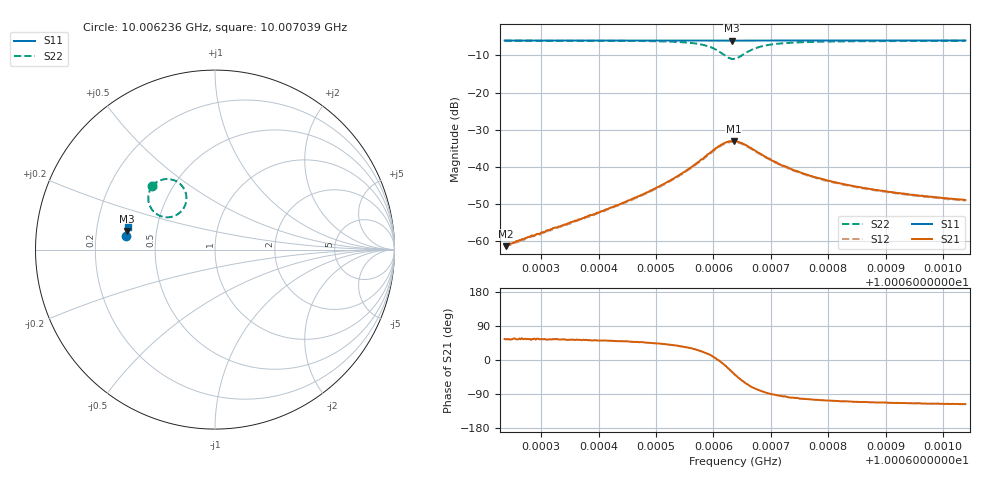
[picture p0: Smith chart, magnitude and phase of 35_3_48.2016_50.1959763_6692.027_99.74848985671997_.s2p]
#  HZ  S  RI  R  50.00
! Rohde & Schwarz Vector Network Analyzer
! Rohde-Schwarz,ZNB20-2Port,1311601062101988,3.16
! Created: UTC 3/20/2024, 11:37:38 AM
! freq[Hz]  re:S11  im:S11  re:S21  im:S21  re:S12  im:S12  re:S22  im:S22
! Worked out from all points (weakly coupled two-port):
!   401 points, 10.006236 GHz to 10.007039 GHz, reference 50 ohm
!   highest |S21| = -33.03 dB at 10.006636 GHz (marker M1); lowest = -61.3 dB at 10.006238 GHz (marker M2)
!   lowest |S11| = -6.0 dB at 10.006632 GHz (marker M3), VSWR 3.00, Z = 16.8 + j4.58 ohm
!   |S11| at or under -10 dB: nowhere
!   |S22| runs from -10.9 to -6.0 dB; largest |S21 - S12| = 0.0016
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1.00062363e10  -0.496 0.0775  0.000504 0.000729  0.000451 0.000745  -0.3522 0.3545
1.00062383e10  -0.496 0.0776  0.000499 0.000699  0.000445 0.000747  -0.352 0.3546
1.00063707e10  -0.4948 0.0864  0.00124 0.00159  0.00114 0.0016  -0.3373 0.3676
1.00064349e10  -0.4941 0.0906  0.00201 0.00235  0.00186 0.00239  -0.3253 0.3761
1.00065052e10  -0.4931 0.0951  0.00395 0.00376  0.00372 0.00385  -0.3004 0.3878
1.00065493e10  -0.4925 0.0984  0.00706 0.00484  0.00668 0.00509  -0.2666 0.3932
1.00065874e10  -0.4914 0.1009  0.0134 0.00437  0.0128 0.00482  -0.2066 0.3754
1.00066015e10  -0.4909 0.1018  0.017 0.00206  0.0164 0.00277  -0.1776 0.3468
1.00066135e10  -0.4905 0.102  0.0198 -0.00208  0.0193 -0.000882  -0.1603 0.303
1.00066236e10  -0.49 0.1022  0.0205 -0.00703  0.0204 -0.00566  -0.1635 0.2554
1.00066316e10  -0.4898 0.1022  0.0192 -0.0113  0.0194 -0.00975  -0.1831 0.2188
1.00066356e10  -0.49 0.1022  0.0181 -0.0131  0.0184 -0.0117  -0.1983 0.204
1.00066376e10  -0.49 0.1023  0.0173 -0.0141  0.0175 -0.0125  -0.2065 0.1978
1.00066537e10  -0.4905 0.1029  0.0105 -0.0172  0.0113 -0.0163  -0.2787 0.1806
1.00066677e10  -0.4907 0.1036  0.00537 -0.0166  0.00631 -0.016  -0.3249 0.1979
1.00066838e10  -0.4909 0.1049  0.00197 -0.0146  0.00276 -0.0141  -0.3531 0.2258
1.00067159e10  -0.4909 0.1072  -0.000795 -0.0108  -0.000363 -0.0107  -0.3707 0.2695
1.00067419e10  -0.4908 0.1089  -0.00161 -0.0088  -0.00109 -0.00871  -0.372 0.2917
1.0006772e10  -0.4906 0.1112  -0.00185 -0.00726  -0.0015 -0.00722  -0.3697 0.3087
1.00068322e10  -0.4898 0.115  -0.00189 -0.00545  -0.00163 -0.00543  -0.3634 0.329
1.00069065e10  -0.4888 0.1199  -0.00179 -0.00424  -0.00159 -0.00424  -0.356 0.3432
1.00070389e10  -0.487 0.1283  -0.00159 -0.00321  -0.00144 -0.00325  -0.3457 0.3587
